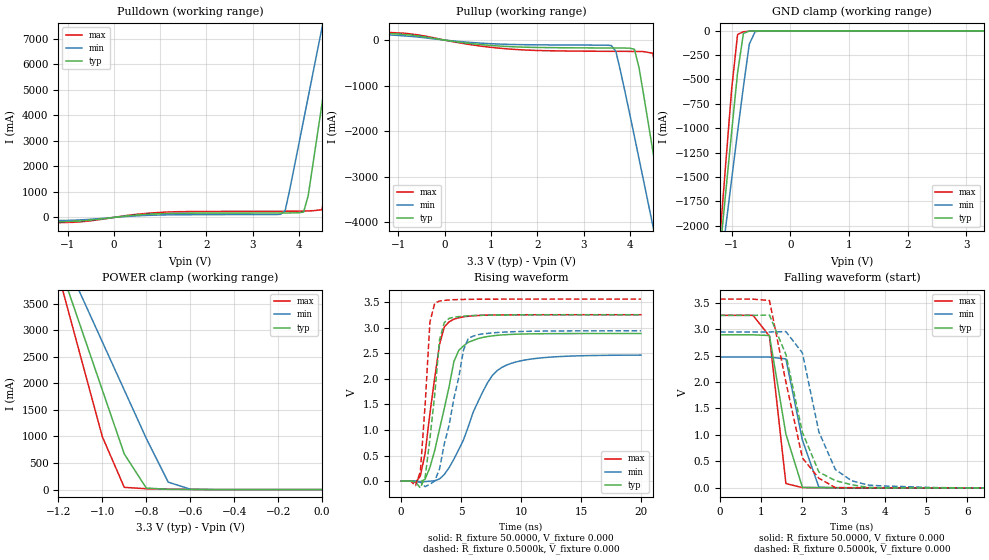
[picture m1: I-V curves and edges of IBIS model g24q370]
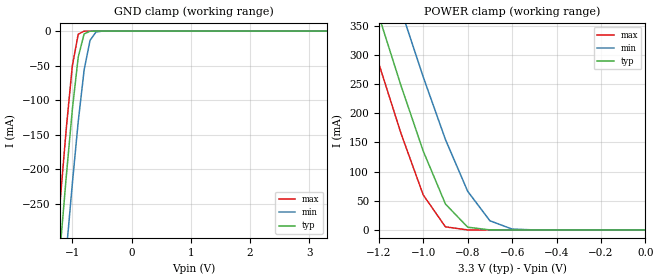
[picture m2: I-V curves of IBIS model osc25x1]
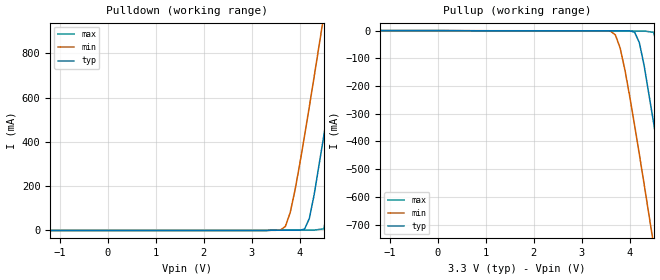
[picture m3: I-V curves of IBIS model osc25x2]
|   National Semiconductor Corporation
|   Interface Products Group
|   IBIS Model of DP83848 AspenPHY
|   48L LQFP Package
[IBIS Ver]   4.2
[Comment char]  |_char
[File name]   dp83848.ibs
[File Rev]   1.1
[Date]   9/01/2010
[Source]   File originated at National Semiconductor Corporation.
   Interface Group/Analog Division. All models created with
   Spectre s2ibis simulations by Sida Zhang.
   Originally Created on 8/24/2005 by Sida Zhang, modified
   on 9/01/2010 by Peggy Alavi
| All models created by s2ibis2 version 1.1
| North Carolina State University Electronics Research Laboratory  1995
[Notes]
   Rev 1.0 The file does not have TD+/TD- and RD+/RD- models
   due to the IBIS modeling limitations and design complexity.
   Rev 1.1 removes model selector. Model selector included a
   production test mode which is not available in the final
   product.
Begin IBIS Parser Results
| Do NOT edit this section manually!
Checking ...\dp83848.ibs for IBIS 4.2 Compatibility...
WARNING - Model osc25x1: POWER Clamp : Typical value never becomes zero
WARNING - Model osc25x1: POWER Clamp : Minimum value never becomes zero
WARNING - Model osc25x1: POWER Clamp : Maximum value never becomes zero
Errors  : 0
Warnings: 3
File Passed
| End IBIS Parser Results
[Disclaimer]
(C) Copyright National Semiconductor Corporation 2010
                All rights reserved
     National Semiconductor Corporation hereby grants
the user of this IBIS model a non-exclusive, nontransferable
license to use this IBIS model under the following terms.
Before using this IBIS model, the user should read this
license.  If the user does not accept these terms,  the
IBIS model should be returned to National within 30 days.
     The user is granted this license only to use the
IBIS model and is not granted rights to sell, load, rent,
lease or license the IBIS model in whole or in part, or in
modified form to anyone other than user. User may modify
the IBIS model to suit its specific applications but rights
to derivative works and such modifications shall belong to
National.
     This IBIS model is provided on an "AS IS" basis and
National makes absolutely no warranty with respect to the
information contained herein.NATIONAL DISCLAIMS AND CUSTOMER
WAIVES ALL WARRANTIES, EXPRESS OR IMPLIED, INCLUDING
WARRANTIES OF MERCHANTABILITY OR FITNESS FOR A PARTICULAR
PURPOSE. The entire risk as to quality and performance is
with the Customer. ACCORDINGLY, IN NO EVENT SHALL THE
COMPANY BE LIABLE FOR ANY DAMAGES, WHETHER IN CONTRACT OR
TORT,INCLUDING ANY LOST PROFITS OR OTHER INCIDENTAL,
CONSEQUENTIAL, EXEMPLARY, OR PUNITIVE DAMAGES ARISING OUT
OF THE USE OR APPLICATION OF THE IBIS model provided in
this package.Further, National reserves the right to make
changes without notice to any product herein to improve
reliability, function, or design. National does not convey
any license under patent rights or any other intellectual
property rights, including those of third parties.
     National is not obligated to provide maintenance or support
for the licensed IBIS model.
[Copyright]   Copyright 2010, National Semiconductor, All Rights Reserved
[Component]   DP83848
[Manufacturer]  National Semiconductor Corporation
[Package]
|   typ   min   max
R_pkg   50.0m   50.0m   50.0m
L_pkg   1.88nH   1.7922n   2.11433n
C_pkg   0.306pF   0.27505p   0.33960p
[Pin]   signal_name   model_name   R_pin   L_pin   C_pin
1   TX_CLK   g24q370   50.0m   2.11433n   0.27505p
2   TX_EN   g24q370   50.0m   2.01554n   0.33960p
3   TXD_0   g24q370   50.0m   1.94357n   0.32802p
4   TXD_1   g24q370   50.0m   1.89274n   0.32012p
5   TXD_2   g24q370   50.0m   1.83759n   0.31097p
6   TXD_3/SNI_MODE   g24q370   50.0m   1.79220n   0.30663p
7   PWR_DOWN/INT   g24q370   50.0m   1.79220n   0.30663p
8   TCK   g24q370   50.0m   1.83759n   0.31097p
9   TDO   g24q370   50.0m   1.89274n   0.32012p
10   TMS   g24q370   50.0m   1.94357n   0.32802p
11   TRST#   g24q370   50.0m   2.01554n   0.33960p
12   TDI   g24q370   50.0m   2.11433n   0.27505p
13   RD-   NC   50.0m   2.11433n   0.27505p
14   RD+   NC   50.0m   2.01554n   0.33960p
15   AGND   GND   50.0m   1.94357n   0.32802p
16   TD-   NC   50.0m   1.89274n   0.32012p
17   TD+   NC   50.0m   1.83759n   0.31097p
18   PFBIN1   NC   50.0m   1.79220n   0.30663p
19   AGND   GND   50.0m   1.79220n   0.30663p
20   RESERVED   NC   50.0m   1.83759n   0.31097p
21   RESERVED   NC   50.0m   1.89274n   0.32012p
22   AVDD33   POWER   50.0m   1.94357n   0.32802p
23   PFBOUT   NC   50.0m   2.01554n   0.33960p
24   RBIAS   NC   50.0m   2.11433n   0.27505p
25   25MHz_OUT   g24q370   50.0m   2.11433n   0.27505p
26   LED_ACT/COL/AN_EN   g24q370   50.0m   2.01554n   0.33960p
27   LED_SPEED/AN1   g24q370   50.0m   1.94357n   0.32802p
28   LED_LINK/AN0   g24q370   50.0m   1.89274n   0.32012p
29   RESET_N   g24q370   50.0m   1.83759n   0.31097p
30   MDIO   g24q370   50.0m   1.79220n   0.30663p
31   MDC   g24q370   50.0m   1.79220n   0.30663p
32   IOVDD33   POWER   50.0m   1.83759n   0.31097p
33   X2   osc25x2   50.0m   1.89274n   0.32012p
34   X1   osc25x1   50.0m   1.94357n   0.32802p
35   IOGND   GND   50.0m   2.01554n   0.33960p
36   DGND   GND   50.0m   2.11433n   0.27505p
37   PFBIN2   NC   50.0m   2.11433n   0.27505p
38   RX_CLK   g24q370   50.0m   2.01554n   0.33960p
39   RX_DV/MII_MODE   g24q370   50.0m   1.94357n   0.32802p
40   CRS/CRS_DV/LED_CFG  g24q370   50.0m   1.89274n   0.32012p
41   RX_ER/MDIX_EN   g24q370   50.0m   1.83759n   0.31097p
42   COL/PHYAD0   g24q370   50.0m   1.79220n   0.30663p
43   RXD_0/PHYAD1   g24q370   50.0m   1.79220n   0.30663p
44   RXD_1/PHYAD2   g24q370   50.0m   1.83759n   0.31097p
45   RXD_2/PHYAD3   g24q370   50.0m   1.89274n   0.32012p
46   RXD_3/PHYAD4   g24q370   50.0m   1.94357n   0.32802p
47   IOGND   GND   50.0m   2.01554n   0.33960p
48   IOVDD33   POWER   50.0m   2.11433n   0.27505p
| Models and submodels in the file (3): g24q370 (I/O), osc25x1 (Input), osc25x2 (Output)
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|[Diff_pin]   inv_pin   vdiff   tdelay_typ   tdelay_min   tdelay_max
| The '+' pin is Diff_pin and the '-' pin is the inv_pin
|14   13   0.100   0 0 0
|17   16   0.100   0 0 0
|   Model g24q370
[Model]   g24q370
Model_type   I/O
Polarity   Non-Inverting
Enable   Active-High
Vinl = 0.8000V
Vinh = 2.0000V
Vmeas = 1.5000V
C_comp   1.0640pF   1.0620pF   1.0670pF
[Temperature Range]   25.0000   0.1250k   -40.0000
[Voltage Range]   3.3000V   3.0000V   3.6000V
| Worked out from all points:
|   slope of the pulldown table from 0 to 0.495 V, typ, clamps not added: 5.31 ohm
|   slope of the pullup table from 0 to 0.495 V, typ, clamps not added: 7.25 ohm
|   GND clamp passes 1 mA (typ) near -0.64 V on its own axis
|   POWER clamp passes 1 mA (typ) near -0.54 V on its own axis
|   rising waveform, R_fixture 50.0000, V_fixture 0.000: 20-80 % time 1.6ns typ, 2.8ns min, 1.1ns max; typ from 0 V to 2.89 V
|   rising waveform, R_fixture 0.5000k, V_fixture 0.000: 20-80 % time 833ps typ, 1.56ns min, 573ps max; typ from 0 V to 3.26 V
|   falling waveform, R_fixture 50.0000, V_fixture 0.000: 20-80 % time 452ps typ, 464ps min, 281ps max; typ from 2.89 V to 0 V
|   falling waveform, R_fixture 0.5000k, V_fixture 0.000: 20-80 % time 659ps typ, 611ps min, 580ps max; typ from 3.26 V to 0 V
[Pulldown]
| voltage   I(typ)   I(min)   I(max)
-3.3V     -160.5mA   -118.3mA   -200.7mA
-900mV    -153.7mA   -111mA     -192.4mA
1.1V      151.8mA    98.11mA    206.2mA
3.6V      174.1mA    121.6mA    241.2mA
3.7V      174.7mA    254.1mA    242mA
4.1V      208.2mA    3.809A     248.7mA
4.2V      852.2mA    4.721A     254.3mA
4.5V      4.477A     7.457A     302mA
4.7V      6.898A     9.283A     2.796A
4.9V      9.321A     11.11A     5.87A
5.1V      11.75A     12.94A     8.947A
6.6V      30.05A     26.73A     32.17A
[Pullup]
| voltage   I(typ)   I(min)   I(max)
-3.3V     188.1mA    165.2mA    206.9mA
-900mV    123.6mA    93.95mA    153.1mA
1.3V      -138.1mA   -91.87mA   -188.7mA
3.6V      -174.3mA   -119.7mA   -247.2mA
3.7V      -174.6mA   -248.3mA   -247.7mA
4.1V      -202.3mA   -2.118A    -249.5mA
4.2V      -607mA     -2.608A    -250.6mA
4.5V      -2.447A    -4.087A    -288.9mA
4.7V      -3.699A    -5.076A    -1.602A
4.9V      -4.956A    -6.068A    -3.14A
5.1V      -6.215A    -7.061A    -4.687A
6.6V      -15.68A    -14.52A    -16.34A
[GND_clamp]
| voltage   I(typ)   I(min)   I(max)
-3.3V     -15.47A    -12.9A     -18.37A
-1.2V     -2.269A    -2.494A    -2.116A
-1.1V     -1.647A    -2.005A    -1.349A
-1V       -1.031A    -1.519A    -592.6mA
-900mV    -430.7mA   -1.039A    -37.49mA
-800mV    -26.32mA   -572.9mA   -9.444mA
-700mV    -1.926mA   -136.4mA   -3.598mA
-600mV    -247.7uA   -8.119mA   -648.8uA
-400mV    -1.571uA   -27.47uA   -1.62uA
3.3V      22.02pA    3.648uA    15.2pA
[POWER_clamp]
| voltage   I(typ)   I(min)   I(max)
-3.3V     29.64A     23.74A     36.19A
-1.2V     4.29A      4.604A     4.058A
-1.1V     3.083A     3.693A     2.528A
-1V       1.877A     2.784A     997.8mA
-900mV    671.8mA    1.874A     42.61mA
-800mV    29.37mA    964.9mA    16.3mA
-700mV    5.409mA    140.5mA    9.688mA
-600mV    1.864mA    8.479mA    4.466mA
0V        22.02pA    589.3pA    18.15pA
[Ramp]
| variable   typ   min   max
dV/dt_r   1.7348/1.6680n   1.4811/3.0471n   1.9560/1.1060n
dV/dt_f   1.8068/1.8411n   1.5594/3.2593n   2.0132/1.2189n
R_load = 50.0000
[Rising Waveform]
R_fixture = 50.0000
V_fixture = 0.000
V_fixture_min = 0.000
V_fixture_max = 0.000
| time   V(typ)   V(min)   V(max)
0s        121pV      6.465nV    36.64pV
1.6ns     -12.04mV   -15.26mV   96.9mV
2ns       34.22mV    -11.2mV    543.1mV
2.4ns     268mV      -3.569mV   1.326V
3.2ns     1.016V     39.7mV     2.674V
4ns       1.85V      262mV      3.12V
4.8ns     2.559V     613.5mV    3.2V
7.2ns     2.832V     1.925V     3.252V
8.4ns     2.864V     2.227V     3.257V
20ns      2.891V     2.468V     3.26V
[Rising Waveform]
R_fixture = 0.5000k
V_fixture = 0.000
V_fixture_min = 0.000
V_fixture_max = 0.000
| time   V(typ)   V(min)   V(max)
0s        130pV      7.171nV    38.79pV
1.2ns     -20.26mV   28.89uV    -92.41mV
1.6ns     -134.2mV   -21.16mV   180.7mV
2ns       72.06mV    -111.1mV   1.492V
2.4ns     825.8mV    -63.59mV   3.114V
2.8ns     1.692V     781.9uV    3.485V
3.2ns     2.765V     233.9mV    3.529V
3.6ns     3.107V     729.7mV    3.542V
5.6ns     3.239V     2.796V     3.562V
20ns      3.259V     2.945V     3.566V
[Falling Waveform]
R_fixture = 50.0000
V_fixture = 0.000
V_fixture_min = 0.000
V_fixture_max = 0.000
| time   V(typ)   V(min)   V(max)
0s        2.891V     2.471V     3.26V
800ps     2.891V     2.471V     3.26V
1.2ns     2.878V     2.471V     2.867V
1.6ns     1.014V     2.436V     81.31mV
2ns       8.918mV    903.1mV    5.147mV
2.4ns     3.412mV    11.78mV    4.297mV
20ns      2.471uV    23.79uV    19.15uV
[Falling Waveform]
R_fixture = 0.5000k
V_fixture = 0.000
V_fixture_min = 0.000
V_fixture_max = 0.000
| time   V(typ)   V(min)   V(max)
0s        3.259V     2.945V     3.566V
1.2ns     3.265V     2.946V     3.539V
1.6ns     2.519V     2.952V     1.996V
2ns       1.048V     2.55V      564.1mV
2.4ns     298.8mV    1.056V     181.6mV
2.8ns     136.3mV    345.2mV    4.978mV
3.2ns     58.01mV    132.1mV    1.436mV
3.6ns     8.285mV    52.25mV    931.6uV
5.2ns     739.4uV    5.88mV     479.6uV
20ns      3.35uV     19.65uV    13.62uV
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|   Model osc25x1
[Model]   osc25x1
Model_type   Input
Polarity   Inverting
Enable   Active-High
Vinl = 0.8000V
Vinh = 2.0000V
C_comp   1.0000pF   1.0000pF   1.0000pF
[Temperature Range]   25.0000   0.1250k   -40.0000
[Voltage Range]   3.3000V   3.0000V   3.6000V
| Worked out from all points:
|   GND clamp passes 1 mA (typ) near -0.72 V on its own axis
|   POWER clamp passes 1 mA (typ) near -0.72 V on its own axis
[GND_clamp]
| voltage   I(typ)   I(min)   I(max)
-3.3V     -2.622A    -2.694A    -2.579A
-1.3V     -414.8mA   -523mA     -346.4mA
-1.2V     -310.3mA   -419.8mA   -240.9mA
-1.1V     -208.9mA   -318.8mA   -139.7mA
-1V       -114.1mA   -221.5mA   -50.66mA
-900mV    -37.58mA   -131mA     -4.515mA
-800mV    -4.019mA   -56.03mA   -47.48uA
-700mV    -108.1uA   -13.33mA   -2.355uA
-600mV    -3.685uA   -1.282mA   -1.753uA
-400mV    -1.001uA   -4.899uA   -1.167uA
3.3V      8.25uA     7.477uA    9.629uA
[POWER_clamp]
| voltage   I(typ)   I(min)   I(max)
-3.3V     3.1A       3.186A     3.05A
-1.3V     490.5mA    618.5mA    409.7mA
-1.2V     366.9mA    496.4mA    284.9mA
-1.1V     247mA      377mA      165.2mA
-1V       135mA      261.9mA    59.9mA
-900mV    44.44mA    154.8mA    5.346mA
-800mV    4.759mA    66.25mA    66.21uA
-700mV    135.7uA    15.76mA    12.92uA
-600mV    12.33uA    1.522mA    12.26uA
-500mV    9.553uA    95.08uA    11.96uA
0V        8.25uA     6.563uA    10.5uA
|   Model osc25x2
[Model]   osc25x2
Model_type   Output
Polarity   Inverting
Enable   Active-High
Vmeas = 1.5000V
C_comp   1.0000pF   1.0000pF   1.0000pF
[Temperature Range]   25.0000   0.1250k   -40.0000
[Voltage Range]   3.3000V   3.0000V   3.6000V
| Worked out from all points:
|   slope of the pullup table from 0 to 0.495 V, typ, clamps not added: 1.19 kohm
[Pulldown]
| voltage   I(typ)   I(min)   I(max)
-3.3V     0A         0A         0A
3.6V      1.099mA    2.318mA    1.555mA
3.7V      1.103mA    18.37mA    1.56mA
3.8V      1.11mA     80.08mA    1.567mA
4.1V      6.217mA    428mA      1.603mA
4.2V      54.57mA    559.8mA    1.639mA
4.5V      425.9mA    967.9mA    7.417mA
4.7V      707.9mA    1.245A     200.5mA
4.9V      996mA      1.525A     486.1mA
5.1V      1.287A     1.806A     783.4mA
5.3V      1.58A      2.089A     1.085A
6.6V      3.503A     3.939A     3.076A
[Pullup]
| voltage   I(typ)   I(min)   I(max)
-3.3V     0A         0A         0A
3.6V      -1.081mA   -2.06mA    -1.527mA
3.7V      -1.083mA   -15.55mA   -1.53mA
3.8V      -1.086mA   -63.14mA   -1.534mA
4.1V      -5.367mA   -340.7mA   -1.543mA
4.2V      -43.48mA   -446.6mA   -1.551mA
4.5V      -335.7mA   -775mA     -6.395mA
4.7V      -559.6mA   -998.5mA   -156mA
4.9V      -788.6mA   -1.224A    -379.2mA
5.1V      -1.02A     -1.451A    -612.3mA
5.3V      -1.253A    -1.678A    -849mA
6.6V      -2.784A    -3.17A     -2.413A
[Ramp]
| variable   typ   min   max
dV/dt_r   1.7737/0.4988n   1.5328/0.7567n   1.9870/0.3615n
dV/dt_f   1.8364/0.4766n   1.5967/0.7630n   2.0404/0.3438n
R_load = 10.0000k
